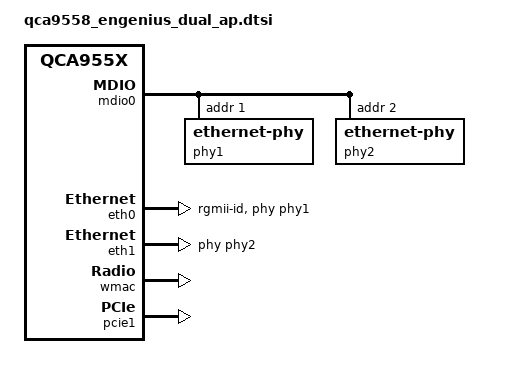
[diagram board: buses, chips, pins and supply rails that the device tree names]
// SPDX-License-Identifier: GPL-2.0-or-later OR MIT

#include "qca955x_senao_loader.dtsi"

&partitions {
	partition@ff0000 {
		label = "art";
		reg = <0xff0000 0x010000>;
		read-only;

		nvmem-layout {
			compatible = "fixed-layout";
			#address-cells = <1>;
			#size-cells = <1>;

			macaddr_art_0: macaddr@0 {
				compatible = "mac-base";
				reg = <0x0 0x6>;
				#nvmem-cell-cells = <1>;
			};

			calibration_art_1000: calibration@1000 {
				reg = <0x1000 0x440>;
			};

			calibration_art_5000: calibration@5000 {
				reg = <0x5000 0x844>;
			};
		};
	};
};

&mdio0 {
	status = "okay";

	phy1: ethernet-phy@1 {
		reg = <1>;
		eee-broken-100tx;
		eee-broken-1000t;
	};

	phy2: ethernet-phy@2 {
		reg = <2>;
		eee-broken-100tx;
		eee-broken-1000t;
		at803x-override-sgmii-link-check;
	};
};

&eth0 {
	status = "okay";

	nvmem-cells = <&macaddr_art_0 0>;
	nvmem-cell-names = "mac-address";

	phy-handle = <&phy1>;
	phy-mode = "rgmii-id";

	pll-data = <0x82000000 0x80000101 0x80001313>;
};

&eth1 {
	status = "okay";

	nvmem-cells = <&macaddr_art_0 1>;
	nvmem-cell-names = "mac-address";

	phy-handle = <&phy2>;

	pll-data = <0x03000000 0x00000101 0x00001313>;

	qca955x-sgmii-fixup;
};

&wmac {
	status = "okay";

	nvmem-cells = <&macaddr_art_0 2>, <&calibration_art_1000>;
	nvmem-cell-names = "mac-address", "calibration";
};

&ath10k_1 {
	nvmem-cells = <&macaddr_art_0 3>, <&calibration_art_5000>;
	nvmem-cell-names = "mac-address", "calibration";
};

&pcie1 {
	status = "okay";
};
